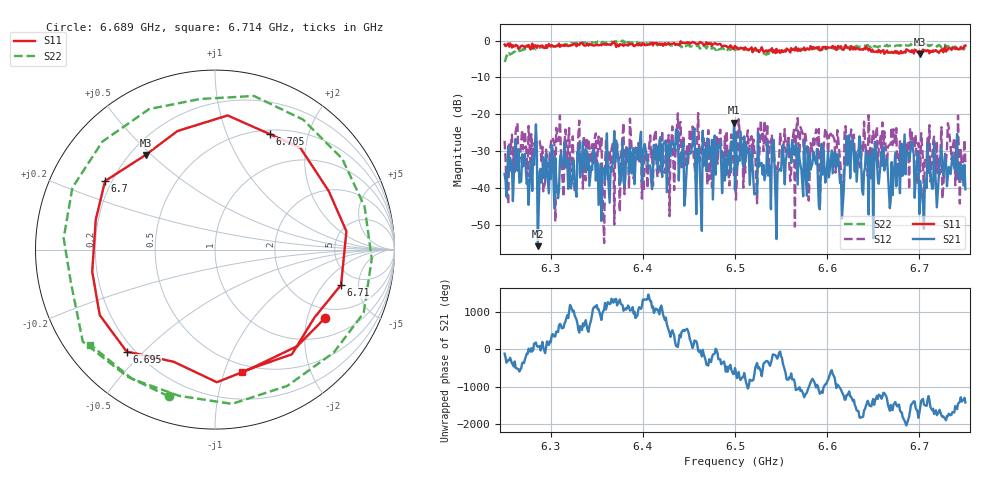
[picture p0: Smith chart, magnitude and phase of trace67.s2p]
# Hz S RI R 50
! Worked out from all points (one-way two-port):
!   401 points, 6.25 GHz to 6.75 GHz, reference 50 ohm
!   highest |S21| = -22.35 dB at 6.499 GHz (marker M1); lowest = -55.9 dB at 6.286 GHz (marker M2)
!   lowest |S11| = -3.7 dB at 6.701 GHz (marker M3), VSWR 4.78, Z = 13 + j24 ohm
!   |S11| at or under -10 dB: nowhere
!   |S22| runs from -5.8 to 0.0 dB; largest |S21 - S12| = 0.13
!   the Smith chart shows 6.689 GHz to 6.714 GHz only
!   S11 on the Smith chart (normalised r, x): 6.689 GHz: 1.61, -2.57; 6.695 GHz: 0.17, -0.45; 6.7 GHz: 0.17, +0.28; 6.705 GHz: 0.55, +1.44; 6.71 GHz: 3.68, -3.09; 6.714 GHz: 0.43, -1.15
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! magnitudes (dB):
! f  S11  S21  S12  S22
! 6.25 GHz  -1.1  -36.3  -27.2  -5.8
! 6.286 GHz  -1.4  -55.9  -27.3  -1.9
! 6.334 GHz  -0.6  -31.8  -30.8  -0.7
! 6.355 GHz  -1.3  -49.0  -25.9  -0.7
! 6.37 GHz  -1.0  -33.1  -28.7  -0.2
! 6.418 GHz  -1.0  -27.4  -34.2  -0.7
! 6.439 GHz  -1.0  -38.0  -29.5  -1.2
! 6.499 GHz  -1.9  -22.4  -37.3  -1.9
! 6.5 GHz  -1.5  -40.6  -31.3  -2.6
! 6.53 GHz  -2.5  -36.4  -24.6  -3.4
! 6.544 GHz  -3.4  -43.1  -35.2  -2.5
! 6.551 GHz  -2.7  -29.8  -28.6  -2.6
! 6.584 GHz  -2.3  -33.5  -29.9  -2.4
! 6.668 GHz  -3.3  -45.6  -28.3  -1.4
! 6.689 GHz  -2.8  -32.3  -40.5  -1.3
! 6.695 GHz  -2.5  -42.7  -29.3  -1.2
! 6.7 GHz  -2.8  -47.1  -29.7  -1.1
! 6.701 GHz  -3.7  -38.1  -35.6  -1.2
! 6.705 GHz  -2.9  -51.2  -44.0  -1.2
! 6.71 GHz  -2.7  -35.9  -27.7  -1.3
! 6.714 GHz  -3.1  -40.3  -31.8  -1.2
! 6.75 GHz  -1.4  -40.4  -33.3  -1.8
